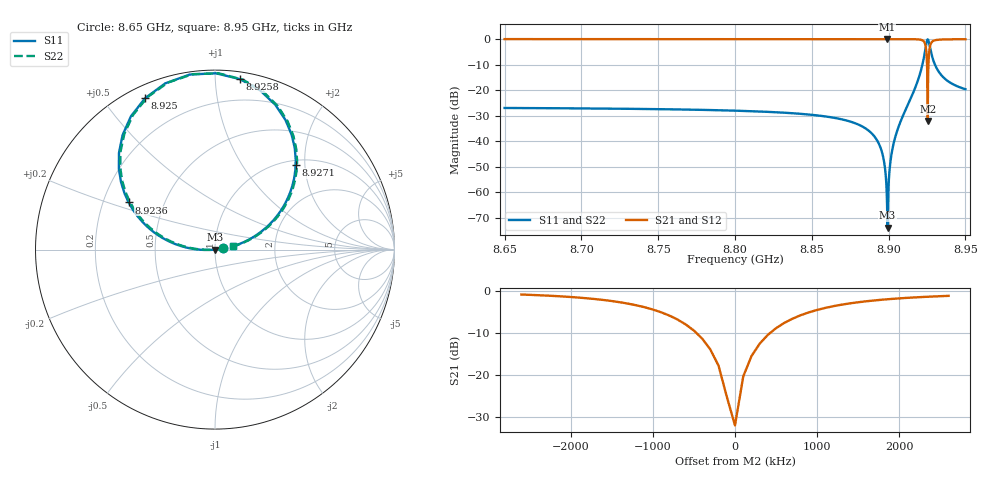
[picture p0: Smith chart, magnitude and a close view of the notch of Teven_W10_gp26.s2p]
! Sonnet Data File
! From: emgraph Version : 16.52
! From Project: transmon_trial
! Data is De-embedded
! Data File Written: 10/20/2017 09:13:08
!< HDATE 10/19/2017 20:03:37
!< MDATE 10/19/2017 20:10:25
!< PARAMS
!< Lj = 15.24
!< Gap = 26.0
!< Width = 10.0
!< Airgap = 6.0
!< Pwidth = 2000.0
!< END PARAMS
# GHZ S MA R 51.00000
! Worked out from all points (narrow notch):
!   3001 points, 8.65 GHz to 8.95 GHz, reference 51 ohm
!   highest |S21| = 0.00 dB at 8.8989 GHz (marker M1); lowest = -32.1 dB at 8.9255 GHz (marker M2)
!   notch at M2: 32.1 dB deep, 437 kHz wide at half that depth
!   lowest |S11| = -73.8 dB at 8.8993 GHz (marker M3), VSWR 1.00, Z = 51 - j0.0208 ohm
!   |S11| at or under -10 dB: start of sweep to 8.922 GHz; 8.930174 GHz to end of sweep
!   |S22| runs from -71.2 to -0.1 dB; largest |S21 - S12| = 0
!   S11 on the Smith chart (normalised r, x): 8.65 GHz: 1.09, +0.02; 8.9236 GHz: 0.31, +0.23; 8.925 GHz: 0.05, +0.64; 8.9258 GHz: 0.05, +1.16; 8.9271 GHz: 1.09, +1.80; 8.95 GHz: 1.23, +0.05
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8.65  0.04485 10.0  0.999 -80.1  0.999 -80.1  0.04485 9.7
!< P1 F=8.65 Eeff=(6.44686054 -2.9785e-5) Z0=(51.7994694 1.19079e-4) R=0.0 C=0.0
!< P2 F=8.65 Eeff=(6.44686054 -2.9785e-5) Z0=(51.7994694 1.19079e-4) R=0.0 C=0.0
8.7  0.044 9.5  0.999 -80.6  0.999 -80.6  0.044 9.2
8.75  0.04254 8.9  0.9991 -81.2  0.9991 -81.2  0.04254 8.7
8.8  0.03974 8.3  0.9992 -81.8  0.9992 -81.8  0.03974 8.1
8.85  0.03294 7.3  0.9994 -82.7  0.9994 -82.7  0.03294 7.3
8.8886  0.01468 5.5  0.9999 -84.1  0.9999 -84.1  0.01468 6.5
8.8954  0.006556 4.0  0.9999 -84.6  0.9999 -84.6  0.006559 7.3
8.8989  0.0007716 -9.9  1 -85.0  1 -85.0  0.0007934 24.8
8.8993  0.0002039 -89.9  1 -85.0  1 -85.0  0.000277 98.4
8.9  0.001426 -166.6  1 -85.1  1 -85.1  0.001439 173.3
8.9018  0.005377 -172.9  0.9999 -85.4  0.9999 -85.4  0.005381 -178.9
8.9043  0.012 -174.5  0.9999 -85.8  0.9999 -85.8  0.012 -177.6
8.9202  0.1972 173.7  0.9795 -96.6  0.9795 -96.6  0.1972 172.6
8.9223  0.3449 164.7  0.9364 -105.4  0.9364 -105.4  0.3449 163.7
8.9236  0.548 151.4  0.8309 -118.5  0.8309 -118.5  0.548 150.4
8.925  0.9292 114.8  0.3358 -153.5  0.3358 -153.5  0.9292 113.9
8.9255  0.9866 93.9  0.02483 -28.4  0.02483 -28.4  0.9867 93.0
8.9258  0.9597 81.6  0.2345 -11.9  0.2345 -11.9  0.9597 80.7
8.9271  0.6519 46.4  0.7516 -44.6  0.7516 -44.6  0.6519 45.5
8.9288  0.4099 29.6  0.9102 -61.1  0.9102 -61.1  0.4099 28.7
8.9314  0.2652 20.6  0.9636 -70.0  0.9636 -70.0  0.2652 19.8
8.95  0.1046 10.8  0.9945 -79.5  0.9945 -79.5  0.1046 10.2
